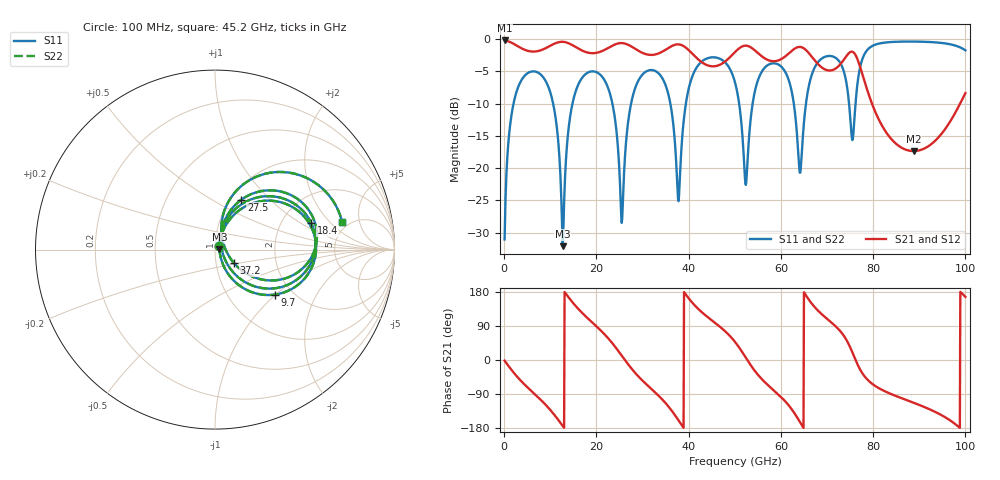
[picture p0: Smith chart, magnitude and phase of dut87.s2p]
! Touchstone file exported from HFSS 2026.1.0
!  File:  C:/ffzhzh/LocalFiles/Ansys_Project_Files/temp_train_TSV_RDL_87_1783473852_46308.aedt
!  Generated:  09:51:14 AM Jul  8, 2026
!  Design:  TSV_RDL
!  Project:  temp_train_TSV_RDL_87_1783473852_46308
! Variables:
!  h_bsmrdl = 3.75um
!  h_ox = 20um
!  h_rdl = 5um
!  h_sub = 87.2um
!  h_tmrdl = 3.48um
!  h_tsv = 87.2um
!  h_via = 3um
!  l_bsmrdl = 566.52um
!  l_sub = 4479.06um
!  l_tmrdl = 565.43um
!  m_sub = 200um
!  pitch = 53.55um
!  r_tsv = 11.1um
!  s_tmrdl = 10um
!  w_bsmrdl = 21.12um
!  w_sub = 500um
!  w_tmrdl = 18.14um
!  x_tsv_center1 = 574.5um
!  x_tsv_center2 = 1162.14um
!  x_tsv_center3 = 1745.71um
!  x_tsv_center4 = 2333.35um
!  x_tsv_center5 = 2916.92um
!  x_tsv_center6 = 3504.56um
# GHz S MA R 50.000000
! Terminal data exported
! Port[1] = TM_RDL1_1_T1
! Port[2] = TM_RDL5_1_T1
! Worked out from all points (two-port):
!   1000 points, 100 MHz to 100 GHz, reference 50 ohm
!   highest |S21| = -0.19 dB at 100 MHz (marker M1); lowest = -17.3 dB at 88.8 GHz (marker M2)
!   |S21| within 3 dB of the highest: start of sweep to 42.18 GHz; 48.35 GHz to 57.07 GHz (8.723 GHz wide, 16.5 % of centre) (the widest 2 of 4)
!   lowest |S11| = -32.1 dB at 12.7 GHz (marker M3), VSWR 1.05, Z = 52.5 + j0.0665 ohm
!   |S11| at or under -10 dB: 10.62 GHz to 14.81 GHz (4.181 GHz wide, 32.9 % of centre); 23.47 GHz to 27.51 GHz (4.04 GHz wide, 15.8 % of centre); 36.04 GHz to 39.39 GHz (3.356 GHz wide, 8.9 % of centre) (the widest 3 of 7)
!   |S22| runs from -32.2 to -0.4 dB; largest |S21 - S12| = 3.3e-12
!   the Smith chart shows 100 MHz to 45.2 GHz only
!   S11 on the Smith chart (normalised r, x): 100 MHz: 1.04, +0.04; 9.7 GHz: 1.63, -0.99; 18.4 GHz: 2.92, +1.25; 27.5 GHz: 1.12, +0.69; 37.2 GHz: 1.22, -0.18; 45.2 GHz: 4.35, +2.83
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0.1  0.02799 39.2  0.9787 -1.7  0.9787 -1.7  0.02799 39.2
! Gamma 0 0 0 0
! Port Impedance 50 0 50 0
2.9  0.4128 41.4  0.8856 -45.2  0.8856 -45.2  0.4128 41.4
9.7  0.4169 -36.9  0.8784 -127.5  0.8784 -127.5  0.4168 -37.0
12.7  0.02483 1.5  0.9553 -174.0  0.9553 -174.0  0.0246 1.4
16.8  0.4962 33.0  0.8201 125.6  0.8201 125.6  0.4961 33.0
18.4  0.5568 15.4  0.7839 106.9  0.7839 106.9  0.5567 15.4
23.1  0.3609 -37.0  0.8773 49.6  0.8773 49.6  0.3609 -36.9
25.5  0.03763 9.2  0.934 11.4  0.934 11.4  0.03786 9.3
27.5  0.3146 62.2  0.8823 -20.9  0.8823 -20.9  0.3147 62.1
33.4  0.5474 -2.4  0.7741 -93.3  0.7741 -93.3  0.5475 -2.4
37.2  0.1281 -35.1  0.9092 -148.5  0.9092 -148.5  0.1279 -35.3
45.2  0.7245 12.3  0.6165 103.0  0.6165 103.0  0.7245 12.4
50.1  0.4557 -36.2  0.7984 47.0  0.7984 47.0  0.4558 -36.1
52.4  0.07414 8.6  0.8921 6.0  0.8921 6.0  0.075 8.5
59.9  0.6212 -4.4  0.6964 -96.1  0.6964 -96.1  0.6212 -4.4
64.1  0.09229 7.6  0.8723 -163.0  0.8723 -163.0  0.09102 7.4
66.7  0.5315 50.5  0.7314 148.7  0.7314 148.7  0.5313 50.7
71.5  0.7296 4.4  0.5826 93.1  0.5826 93.1  0.7295 4.5
75.7  0.1823 35.9  0.7938 14.2  0.7938 14.2  0.184 35.8
83.4  0.9488 -0.3  0.1776 -87.3  0.1776 -87.3  0.9489 -0.4
88.8  0.9597 -23.1  0.1357 -112.9  0.1357 -112.9  0.9598 -23.1
100  0.8205 -97.0  0.3823 166.7  0.3823 166.7  0.8206 -96.9
